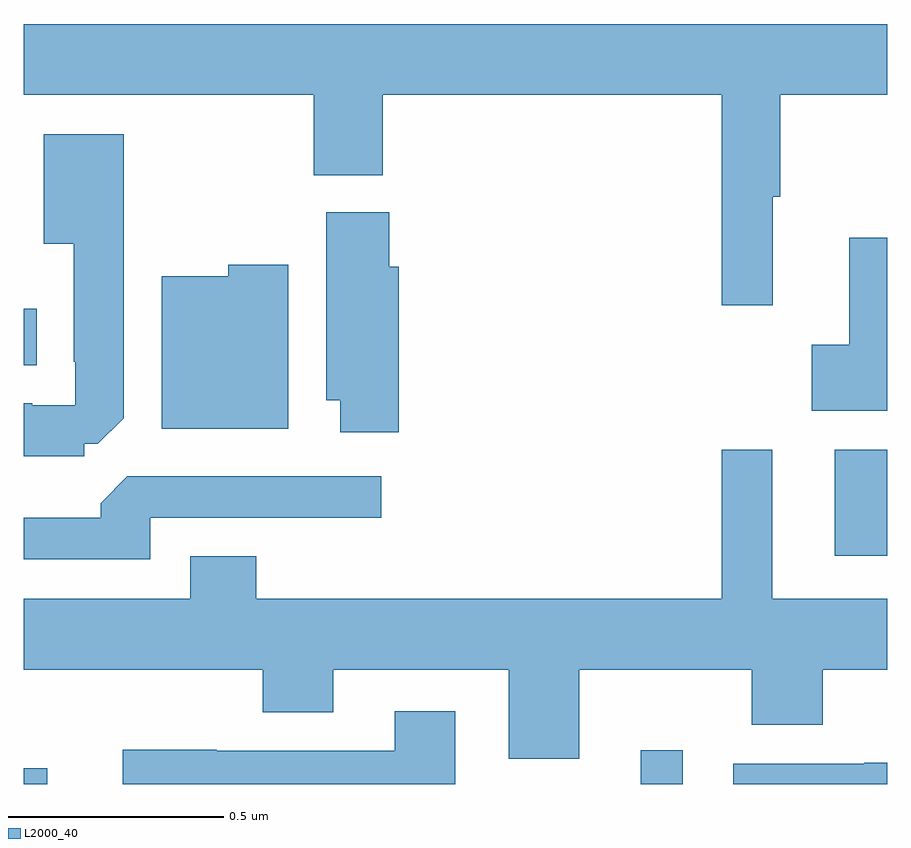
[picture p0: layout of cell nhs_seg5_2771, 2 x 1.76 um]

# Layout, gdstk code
import gdstk
lib = gdstk.Library(unit=1e-6, precision=1e-09)
def R(c, l, rs):  # rectangles x0, y0, x1, y1
    for r in rs: c.add(gdstk.rectangle(r[:2], r[2:], *l))
def P(c, l, *ps):  # polygons
    for p in ps: c.add(gdstk.Polygon(p, *l))
L2000_40 = (2000, 40)

nhs_seg5_2771 = lib.new_cell('nhs_seg5_2771')
R(nhs_seg5_2771, L2000_40, [(148,885.799,148.054,885.835), (149.429,885.799,149.526,885.877), (149.879,886.328,150,886.573), (148,886.769,148.03,886.9)])
P(nhs_seg5_2771, L2000_40, [(149.735,887.16),(149.753,887.16),(149.753,887.396),(150,887.396),(150,887.56),(148,887.56),(148,887.396),(148.672,887.396),(148.672,887.209),(148.832,887.209),(148.832,887.396),(149.617,887.396),(149.617,886.908),(149.735,886.908)],
  [(148.14,886.587),(148.171,886.587),(148.231,886.647),(148.231,887.305),(148.046,887.305),(148.046,887.051),(148.115,887.051),(148.115,886.777),(148.119,886.777),(148.119,886.677),(148.019,886.677),(148.019,886.681),(148,886.681),(148,886.559),(148.14,886.559)],
  [(148.868,886.998),(148.847,886.998),(148.847,887.124),(148.7,887.124),(148.7,886.688),(148.733,886.688),(148.733,886.614),(148.868,886.614)],
  [(150,887.065),(149.912,887.065),(149.912,886.817),(149.826,886.817),(149.826,886.664),(150,886.664)],
  [(148.612,887.002),(148.473,887.002),(148.473,886.975),(148.319,886.975),(148.319,886.622),(148.612,886.622)],
  [(149.287,886.064),(149.687,886.064),(149.687,885.936),(149.851,885.936),(149.851,886.064),(150,886.064),(150,886.228),(149.734,886.228),(149.734,886.573),(149.617,886.573),(149.617,886.228),(148.538,886.228),(148.538,886.327),(148.385,886.327),(148.385,886.228),(148,886.228),(148,886.064),(148.553,886.064),(148.553,885.965),(148.717,885.965),(148.717,886.064),(149.123,886.064),(149.123,885.858),(149.287,885.858)],
  [(148.293,886.416),(148.828,886.416),(148.828,886.512),(148.239,886.512),(148.178,886.45),(148.178,886.416),(148,886.416),(148,886.32),(148.293,886.32)],
  [(148.999,885.967),(148.859,885.967),(148.859,885.876),(148.447,885.876),(148.447,885.878),(148.229,885.878),(148.229,885.799),(148.999,885.799)],
  [(150,885.848),(149.947,885.848),(149.947,885.846),(149.643,885.846),(149.643,885.799),(150,885.799)])

lib.write_gds('nhs_seg5_2771.gds')
